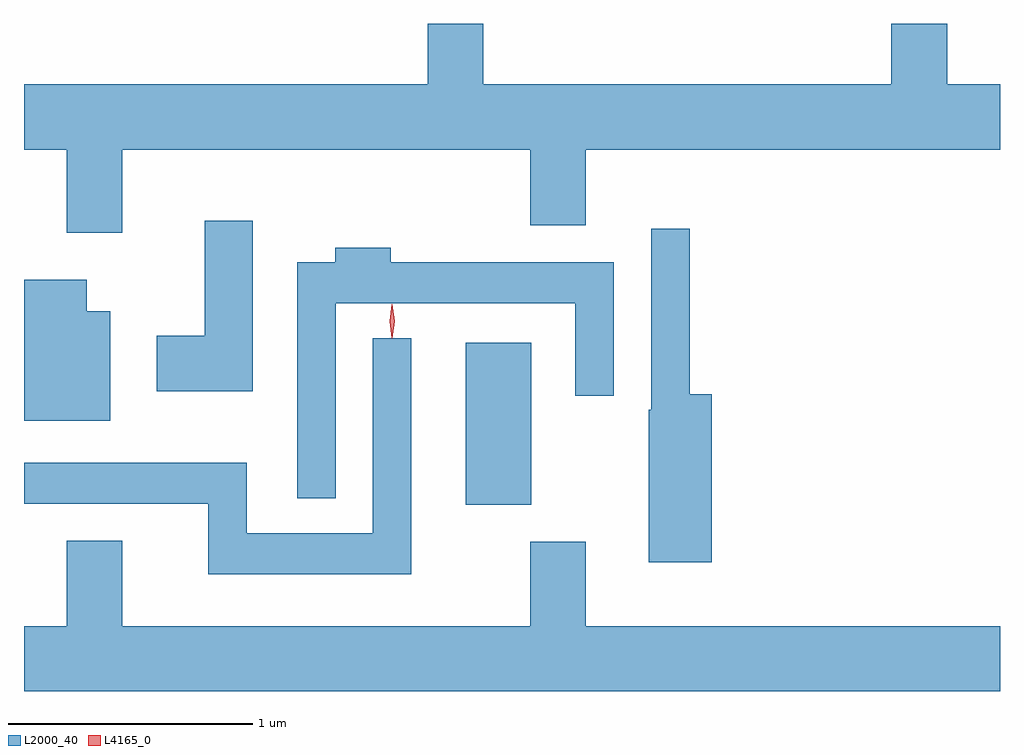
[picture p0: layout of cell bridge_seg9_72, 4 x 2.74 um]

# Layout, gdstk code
import gdstk
lib = gdstk.Library(unit=1e-6, precision=1e-09)
def R(c, l, rs):  # rectangles x0, y0, x1, y1
    for r in rs: c.add(gdstk.rectangle(r[:2], r[2:], *l))
def P(c, l, *ps):  # polygons
    for p in ps: c.add(gdstk.Polygon(p, *l))
L2000_40 = (2000, 40)
L4165_0 = (4165, 0)

bridge_seg9_72 = lib.new_cell('bridge_seg9_72')
R(bridge_seg9_72, L2000_40, [(1500.266,1959.281,1500.534,1959.944)])
P(bridge_seg9_72, L2000_40, [(1498.859,1960.736),(1500.531,1960.736),(1500.531,1960.426),(1500.759,1960.426),(1500.759,1960.736),(1502.456,1960.736),(1502.456,1961.004),(1502.239,1961.004),(1502.239,1961.253),(1502.011,1961.253),(1502.011,1961.004),(1500.339,1961.004),(1500.339,1961.253),(1500.111,1961.253),(1500.111,1961.004),(1498.456,1961.004),(1498.456,1960.736),(1498.631,1960.736),(1498.631,1960.396),(1498.859,1960.396)],
  [(1499.394,1960.444),(1499.196,1960.444),(1499.196,1959.974),(1499.001,1959.974),(1499.001,1959.746),(1499.394,1959.746)],
  [(1501.274,1959.734),(1501.184,1959.734),(1501.184,1960.413),(1501.026,1960.413),(1501.026,1959.67),(1501.016,1959.67),(1501.016,1959.046),(1501.274,1959.046)],
  [(1499.734,1960.106),(1500.716,1960.106),(1500.716,1959.728),(1500.874,1959.728),(1500.874,1960.274),(1499.959,1960.274),(1499.959,1960.334),(1499.731,1960.334),(1499.731,1960.274),(1499.576,1960.274),(1499.576,1959.308),(1499.734,1959.308)],
  [(1498.809,1960.074),(1498.714,1960.074),(1498.714,1960.204),(1498.456,1960.204),(1498.456,1959.626),(1498.809,1959.626)],
  [(1500.044,1959.963),(1499.886,1959.963),(1499.886,1959.164),(1499.369,1959.164),(1499.369,1959.454),(1498.456,1959.454),(1498.456,1959.286),(1499.211,1959.286),(1499.211,1958.996),(1500.044,1958.996)],
  [(1502.456,1958.784),(1500.759,1958.784),(1500.759,1959.129),(1500.531,1959.129),(1500.531,1958.784),(1498.859,1958.784),(1498.859,1959.134),(1498.631,1959.134),(1498.631,1958.784),(1498.456,1958.784),(1498.456,1958.516),(1502.456,1958.516)])
P(bridge_seg9_72, L4165_0, [(1499.964,1959.967),(1499.964,1959.967),(1499.954,1960.034),(1499.963,1960.1),(1499.964,1960.1),(1499.964,1960.1),(1499.974,1960.034),(1499.965,1959.967)],
  [(1499.964,1959.964),(1499.955,1960.033),(1499.964,1960.102),(1499.965,1960.103),(1499.965,1960.102),(1499.975,1960.033),(1499.965,1959.964),(1499.965,1959.964)])

lib.write_gds('bridge_seg9_72.gds')
